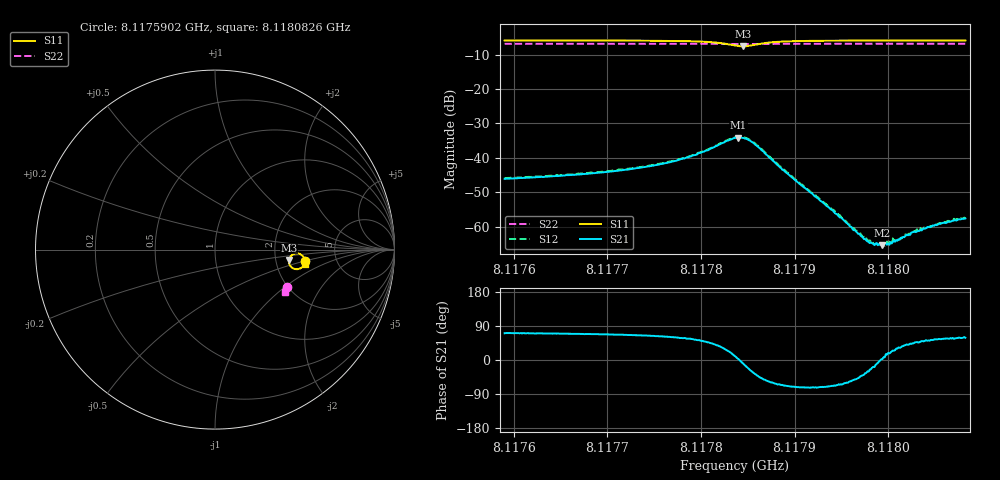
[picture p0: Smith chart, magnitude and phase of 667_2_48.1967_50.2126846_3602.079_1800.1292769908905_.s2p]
#  HZ  S  RI  R  50.00
! Rohde & Schwarz Vector Network Analyzer
! Rohde-Schwarz,ZNB20-2Port,1311601062101988,3.16
! Created: UTC 3/20/2024, 12:05:58 PM
! freq[Hz]  re:S11  im:S11  re:S21  im:S21  re:S12  im:S12  re:S22  im:S22
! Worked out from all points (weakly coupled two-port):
!   401 points, 8.1175902 GHz to 8.1180826 GHz, reference 50 ohm
!   highest |S21| = -34.12 dB at 8.1178401 GHz (marker M1); lowest = -65.5 dB at 8.117994 GHz (marker M2)
!   lowest |S11| = -7.6 dB at 8.117845 GHz (marker M3), VSWR 2.43, Z = 118 - j16.6 ohm
!   |S11| at or under -10 dB: nowhere
!   |S22| runs from -6.9 to -6.9 dB; largest |S21 - S12| = 0.00065
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8.11759025e9  0.5028 -0.0624  0.00164 0.00467  0.00167 0.00477  0.4026 -0.2073
8.11767271e9  0.5006 -0.0724  0.00207 0.00537  0.00221 0.00549  0.4 -0.2126
8.11772318e9  0.4976 -0.0807  0.00277 0.00621  0.00285 0.00631  0.3985 -0.2159
8.11775518e9  0.4939 -0.0878  0.00367 0.00708  0.00376 0.00723  0.3972 -0.2179
8.11778841e9  0.4842 -0.0989  0.00583 0.00871  0.00598 0.00864  0.3956 -0.2204
8.11782041e9  0.4519 -0.109  0.0127 0.00918  0.0132 0.00939  0.3933 -0.2224
8.11783641e9  0.4179 -0.0881  0.0191 0.00339  0.0195 0.00362  0.3916 -0.2221
8.1178401e9  0.413 -0.0764  0.0197 0.00076  0.0202 0.000878  0.3913 -0.2218
8.11784503e9  0.4122 -0.0579  0.0192 -0.00317  0.0197 -0.00317  0.3914 -0.2212
8.11785857e9  0.4411 -0.0236  0.0121 -0.00951  0.0125 -0.0098  0.3926 -0.2209
8.11788195e9  0.4829 -0.0305  0.0033 -0.00704  0.00356 -0.00732  0.3934 -0.223
8.11791888e9  0.4977 -0.0511  0.00092 -0.00287  0.00096 -0.00293  0.3928 -0.2263
8.11797673e9  0.5006 -0.0668  0.000519 -0.000351  0.00058 -0.000345  0.3909 -0.2304
8.11798288e9  0.5007 -0.068  0.000532 -0.000197  0.000572 -0.000257  0.3908 -0.2307
8.11799396e9  0.5007 -0.0698  0.000533 2.45e-05  0.000537 1.88e-05  0.3903 -0.2314
8.11800134e9  0.5007 -0.071  0.000519 0.000161  0.000566 0.000163  0.3902 -0.2321
8.11801119e9  0.5008 -0.0726  0.000542 0.000353  0.000572 0.000306  0.3899 -0.2326
8.11801857e9  0.5007 -0.0736  0.000572 0.000463  0.000623 0.000443  0.3895 -0.233
8.11802965e9  0.5006 -0.0752  0.000569 0.000603  0.000606 0.000619  0.3892 -0.2339
8.1180395e9  0.5005 -0.0765  0.000586 0.000725  0.000608 0.000721  0.3889 -0.2344
8.11805673e9  0.5003 -0.0786  0.000642 0.000917  0.000616 0.000914  0.3881 -0.2355
8.11808258e9  0.5 -0.0816  0.00068 0.00112  0.000704 0.00113  0.3874 -0.2371
